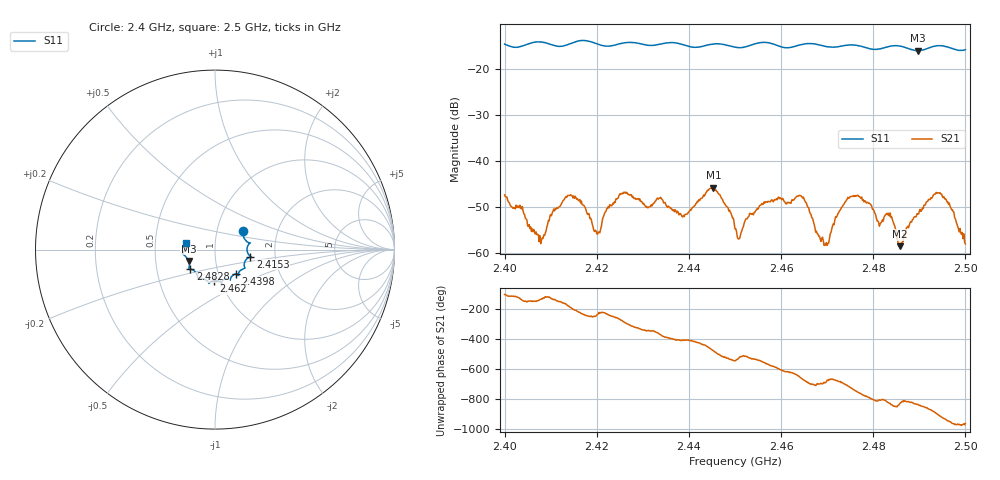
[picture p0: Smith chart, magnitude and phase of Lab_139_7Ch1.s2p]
# Hz S RI R 50
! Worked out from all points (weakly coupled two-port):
!   601 points, 2.4 GHz to 2.5 GHz, reference 50 ohm
!   highest |S21| = -45.74 dB at 2.4453 GHz (marker M1); lowest = -58.4 dB at 2.4858 GHz (marker M2)
!   lowest |S11| = -15.9 dB at 2.4897 GHz (marker M3), VSWR 1.38, Z = 36.9 - j4.81 ohm
!   |S11| at or under -10 dB: start of sweep to end of sweep
!   S12 and S22 are empty: the file has one direction only
!   S11 on the Smith chart (normalised r, x): 2.4 GHz: 1.33, +0.29; 2.4153 GHz: 1.48, -0.12; 2.4398 GHz: 1.21, -0.34; 2.462 GHz: 0.93, -0.33; 2.4828 GHz: 0.74, -0.17; 2.5 GHz: 0.72, +0.06
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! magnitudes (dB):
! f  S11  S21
! 2.4 GHz  -14.5  -47.3
! 2.4078 GHz  -14.0  -57.9
! 2.4108 GHz  -14.8  -50.8
! 2.4153 GHz  -14.0  -47.6
! 2.4167 GHz  -13.7  -48.6
! 2.4202 GHz  -14.5  -55.8
! 2.4253 GHz  -14.3  -47.0
! 2.4333 GHz  -14.6  -48.2
! 2.4398 GHz  -15.0  -51.1
! 2.4453 GHz  -14.4  -45.7
! 2.45 GHz  -15.1  -54.7
! 2.462 GHz  -15.2  -49.1
! 2.4645 GHz  -14.6  -47.7
! 2.4667 GHz  -14.4  -52.2
! 2.4698 GHz  -15.0  -57.7
! 2.475 GHz  -14.7  -47.6
! 2.4828 GHz  -15.2  -51.4
! 2.4833 GHz  -15.0  -51.3
! 2.4858 GHz  -14.9  -58.4
! 2.4897 GHz  -15.9  -51.4
! 2.4945 GHz  -14.8  -46.8
! 2.5 GHz  -15.7  -57.9
